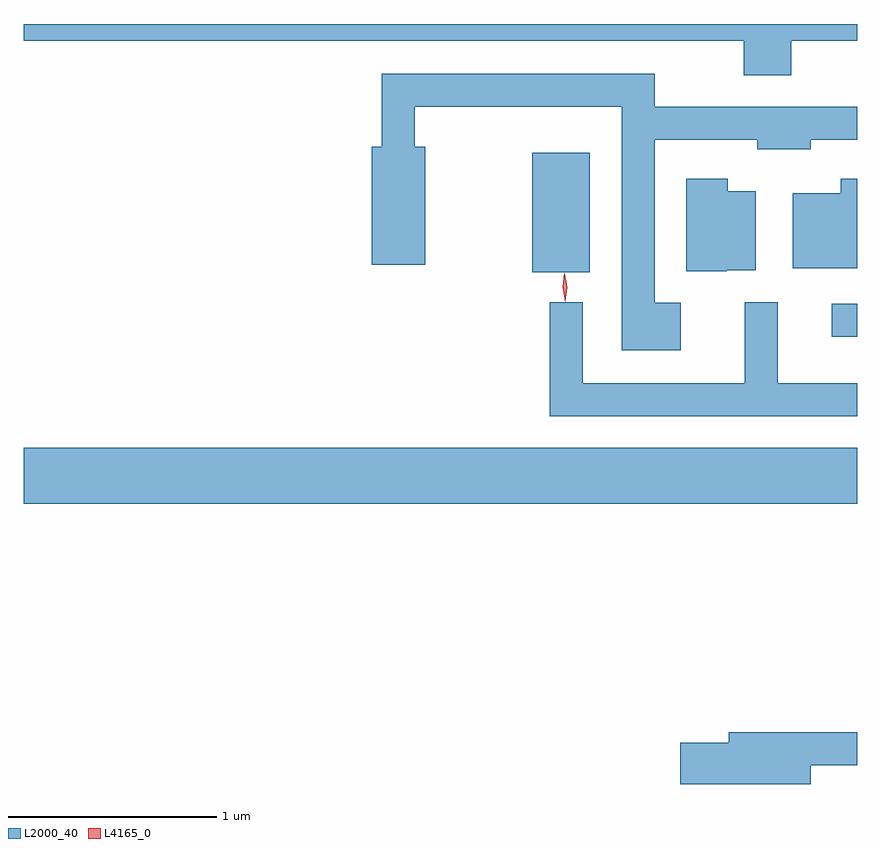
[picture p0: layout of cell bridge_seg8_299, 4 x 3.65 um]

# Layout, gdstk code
import gdstk
lib = gdstk.Library(unit=1e-6, precision=1e-09)
def R(c, l, rs):  # rectangles x0, y0, x1, y1
    for r in rs: c.add(gdstk.rectangle(r[:2], r[2:], *l))
def P(c, l, *ps):  # polygons
    for p in ps: c.add(gdstk.Polygon(p, *l))
L2000_40 = (2000, 40)
L4165_0 = (4165, 0)

bridge_seg8_299 = lib.new_cell('bridge_seg8_299')
R(bridge_seg8_299, L2000_40, [(1414.617,1869.716,1418.617,1869.984), (1418.493,1870.516,1418.617,1870.674), (1417.056,1870.826,1417.334,1871.399)])
P(bridge_seg8_299, L2000_40, [(1418.299,1871.936),(1418.617,1871.936),(1418.617,1872.017),(1414.617,1872.017),(1414.617,1871.936),(1418.071,1871.936),(1418.071,1871.771),(1418.299,1871.771)],
  [(1417.769,1870.679),(1417.644,1870.679),(1417.644,1871.461),(1418.136,1871.461),(1418.136,1871.416),(1418.394,1871.416),(1418.394,1871.461),(1418.617,1871.461),(1418.617,1871.619),(1417.644,1871.619),(1417.644,1871.779),(1416.336,1871.779),(1416.336,1871.429),(1416.286,1871.429),(1416.286,1870.861),(1416.544,1870.861),(1416.544,1871.429),(1416.494,1871.429),(1416.494,1871.621),(1417.486,1871.621),(1417.486,1870.451),(1417.769,1870.451)],
  [(1417.99,1870.836),(1418.129,1870.836),(1418.129,1871.214),(1417.994,1871.214),(1417.994,1871.274),(1417.796,1871.274),(1417.796,1870.831),(1417.99,1870.831)],
  [(1418.617,1871.274),(1418.536,1871.274),(1418.536,1871.204),(1418.306,1871.204),(1418.306,1870.846),(1418.617,1870.846)],
  [(1418.617,1870.294),(1418.234,1870.294),(1418.234,1870.683),(1418.076,1870.683),(1418.076,1870.294),(1417.299,1870.294),(1417.299,1870.683),(1417.141,1870.683),(1417.141,1870.136),(1418.617,1870.136)],
  [(1418.394,1868.461),(1418.617,1868.461),(1418.617,1868.619),(1418.001,1868.619),(1418.001,1868.569),(1417.766,1868.569),(1417.766,1868.371),(1418.394,1868.371)])
P(bridge_seg8_299, L4165_0, [(1417.216,1870.684),(1417.215,1870.685),(1417.203,1870.753),(1417.21,1870.821),(1417.21,1870.822),(1417.211,1870.821),(1417.223,1870.753),(1417.216,1870.685)],
  [(1417.215,1870.688),(1417.204,1870.753),(1417.212,1870.819),(1417.212,1870.819),(1417.212,1870.819),(1417.224,1870.754),(1417.216,1870.688),(1417.216,1870.688)])

lib.write_gds('bridge_seg8_299.gds')
